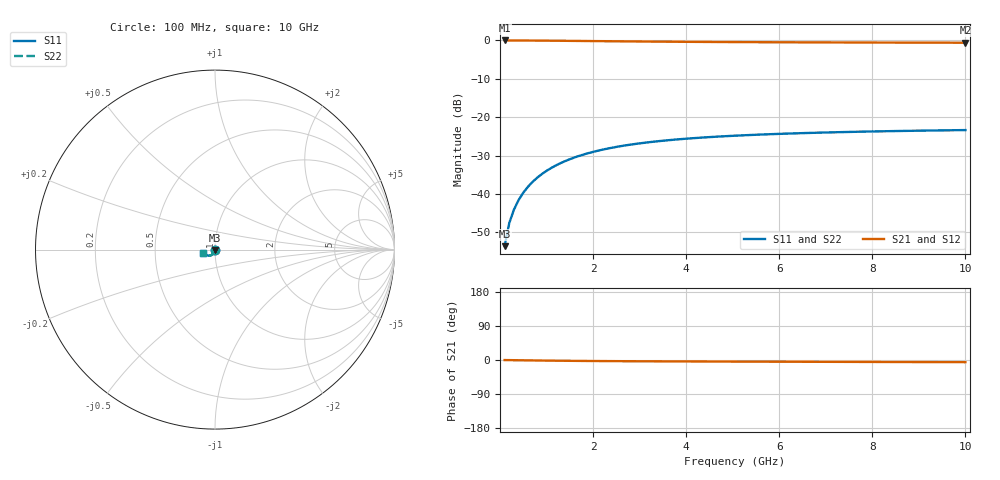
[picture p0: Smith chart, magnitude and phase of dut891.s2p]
! Touchstone file exported from HFSS 2024.1.0
!  File:  C:/UserFiles/LocalFiles/RDL_TSV_Batchsim/temp_TSV1_891_1779884906.aedt
!  Generated:  08:33:42 PM May 27, 2026
!  Design:  TSV1
!  Project:  temp_TSV1_891_1779884906
!  Setup:  Setup1
!  Solution:  Sweep
! Variables:
!  dtsv = 14.82um
!  hbump = 3um
!  htsv = 88.42um
!  lrdl = 252.1521522um
!  p = 40
!  p1 = 53.16um
!  t = 500um
!  trdl = 3um
!  wrdl = 24.89489489um
# GHz S MA R 50.000000
! Terminal data exported
! Port[1] = TSV22_T1
! Port[2] = TSV22_T2
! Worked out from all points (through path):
!   100 points, 100 MHz to 10 GHz, reference 50 ohm
!   highest |S21| = 0.00 dB at 100 MHz (marker M1); lowest = -0.6 dB at 10 GHz (marker M2)
!   lowest |S11| = -53.6 dB at 100 MHz (marker M3), VSWR 1.00, Z = 50 - j0.208 ohm
!   |S11| at or under -10 dB: start of sweep to end of sweep
!   |S22| runs from -53.6 to -23.4 dB; largest |S21 - S12| = 7.1e-15
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0.1  0.00208 -89.5  0.9998 -0.2  0.9998 -0.2  0.00208 -89.5
! Gamma 0 0 0 0
! Port Impedance 50 0 50 0
0.2  0.004159 -92.3  0.9996 -0.3  0.9996 -0.3  0.004159 -92.3
0.3  0.006234 -94.5  0.9993 -0.5  0.9993 -0.5  0.006234 -94.5
0.4  0.008294 -96.5  0.9988 -0.7  0.9988 -0.7  0.008294 -96.5
0.5  0.01033 -98.4  0.9982 -0.8  0.9982 -0.8  0.01033 -98.4
0.6  0.01233 -100.3  0.9975 -1.0  0.9975 -1.0  0.01233 -100.3
0.7  0.0143 -102.2  0.9967 -1.1  0.9967 -1.1  0.0143 -102.2
0.8  0.01623 -103.9  0.9958 -1.3  0.9958 -1.3  0.01623 -103.9
0.9  0.01811 -105.7  0.9949 -1.4  0.9949 -1.4  0.01811 -105.7
1.1  0.02172 -109.1  0.9927 -1.7  0.9927 -1.7  0.02172 -109.1
1.4  0.02673 -113.8  0.9891 -2.1  0.9891 -2.1  0.02673 -113.8
1.6  0.02979 -116.8  0.9866 -2.3  0.9866 -2.3  0.02979 -116.8
1.8  0.03262 -119.6  0.984 -2.5  0.984 -2.5  0.03262 -119.6
2.1  0.03647 -123.5  0.9801 -2.7  0.9801 -2.7  0.03647 -123.5
2.5  0.04091 -128.1  0.9751 -3.0  0.9751 -3.0  0.04091 -128.1
2.9  0.04467 -132.2  0.9704 -3.3  0.9704 -3.3  0.04467 -132.2
3.4  0.04857 -136.6  0.9652 -3.5  0.9652 -3.5  0.04857 -136.6
4.2  0.05344 -142.5  0.9582 -3.9  0.9582 -3.9  0.05344 -142.4
5.1  0.0575 -147.7  0.9519 -4.2  0.9519 -4.2  0.0575 -147.7
6.7  0.06241 -154.9  0.944 -4.7  0.944 -4.7  0.06241 -154.9
8.4  0.06573 -160.5  0.9383 -5.3  0.9383 -5.3  0.06573 -160.5
10  0.06784 -164.7  0.9346 -5.8  0.9346 -5.8  0.06784 -164.7
